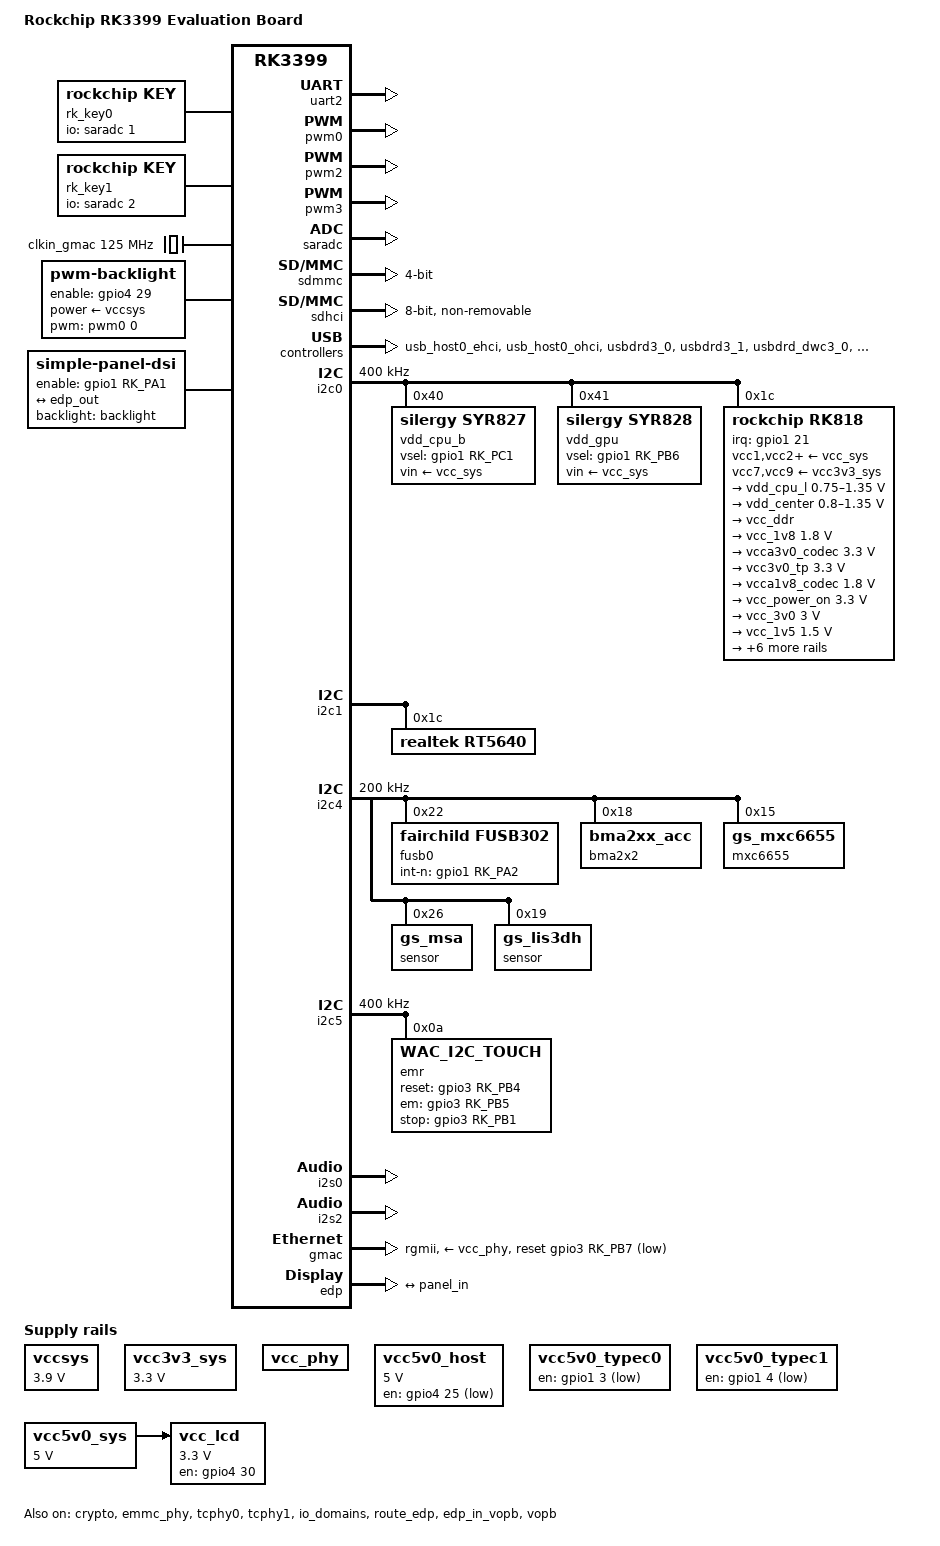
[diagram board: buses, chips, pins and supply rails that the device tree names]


/*
 * (C) Copyright 2016 Rockchip Electronics Co., Ltd
 *
 * SPDX-License-Identifier:     GPL-2.0+
 */

/dts-v1/;
#include <dt-bindings/pwm/pwm.h>
#include <dt-bindings/pinctrl/rockchip.h>
#include "rk3399.dtsi"
#include "rk3399-sdram-lpddr3-4GB-1600.dtsi"
#include "rk3399-u-boot.dtsi"
#include <linux/media-bus-format.h>
#include <dt-bindings/input/input.h>

/ {
	model = "Rockchip RK3399 Evaluation Board";
	compatible = "rockchip,rk3399-evb", "rockchip,rk3399",
		     "google,rk3399evb-rev2";

	/* RK3399 evb board */
	rk_key0 {
		u-boot,dm-pre-reloc;
		compatible = "rockchip,key";
		status = "okay";
		io-channels = <&saradc 1>;

		vol-up-key0 {
			u-boot,dm-pre-reloc;
			linux,code = <KEY_VOLUMEUP>;
			label = "volume up";
			rockchip,adc_value = <1>;
		};
	};

	/* RK3399PRO evb board */
	rk_key1 {
		u-boot,dm-pre-reloc;
		compatible = "rockchip,key";
		status = "okay";
		io-channels = <&saradc 2>;

		vol-up-key1 {
			u-boot,dm-pre-reloc;
			linux,code = <KEY_VOLUMEUP>;
			label = "volume up";
			rockchip,adc_value = <10>;
		};
	};


	vccsys: vccsys {
		compatible = "regulator-fixed";
		regulator-name = "vccsys";
		regulator-always-on;
		regulator-boot-on;
		regulator-min-microvolt = <3900000>;
		regulator-max-microvolt = <3900000>;
	};

	vcc3v3_sys: vcc3v3-sys {
		compatible = "regulator-fixed";
		regulator-name = "vcc3v3_sys";
		regulator-always-on;
		regulator-boot-on;
		regulator-min-microvolt = <3300000>;
		regulator-max-microvolt = <3300000>;
	};

	vcc_phy: vcc-phy-regulator {
		compatible = "regulator-fixed";
		regulator-name = "vcc_phy";
		regulator-always-on;
		regulator-boot-on;
	};

	vcc5v0_host: vcc5v0-host-en {
		compatible = "regulator-fixed";
		regulator-name = "vcc5v0_host";
		gpio = <&gpio4 25 GPIO_ACTIVE_HIGH>;
		regulator-min-microvolt = <5000000>;
		regulator-max-microvolt = <5000000>;
		regulator-always-on;
		regulator-boot-on;
	};

	vcc5v0_typec0: vcc5v0-typec0-en {
		compatible = "regulator-fixed";
		regulator-name = "vcc5v0_typec0";
		gpio = <&gpio1 3 GPIO_ACTIVE_HIGH>;
	};

	vcc5v0_typec1: vcc5v0-typec1-en {
		compatible = "regulator-fixed";
		regulator-name = "vcc5v0_typec1";
		gpio = <&gpio1 4 GPIO_ACTIVE_HIGH>;
	};

	clkin_gmac: external-gmac-clock {
		compatible = "fixed-clock";
		clock-frequency = <125000000>;
		clock-output-names = "clkin_gmac";
		#clock-cells = <0>;
	};

	backlight: backlight {
		compatible = "pwm-backlight";
		power-supply = <&vccsys>;
		enable-gpios = <&gpio1 RK_PC7 GPIO_ACTIVE_HIGH>;
		brightness-levels = <
			  0  20  20  21  21  22  22  23
			 23  24  24  25  25  26  26  27
			 27  28  28  29  29  30  30  31
			 31  32  32  33  33  34  34  35
			 35  36  36  37  37  38  38  39
			 40  41  42  43  44  45  46  47
			 48  49  50  51  52  53  54  55
			 56  57  58  59  60  61  62  63
			 64  65  66  67  68  69  70  71
			 72  73  74  75  76  77  78  79
			 80  81  82  83  84  85  86  87
			 88  89  90  91  92  93  94  95
			 96  97  98  99 100 101 102 103
			104 105 106 107 108 109 110 111
			112 113 114 115 116 117 118 119
			120 121 122 123 124 125 126 127
			128 129 130 131 132 133 134 135
			136 137 138 139 140 141 142 143
			144 145 146 147 148 149 150 151
			152 153 154 155 156 157 158 159
			160 161 162 163 164 165 166 167
			168 169 170 171 172 173 174 175
			176 177 178 179 180 181 182 183
			184 185 186 187 188 189 190 191
			192 193 194 195 196 197 198 199
			200 201 202 203 204 205 206 207
			208 209 210 211 212 213 214 215
			216 217 218 219 220 221 222 223
			224 225 226 227 228 229 230 231
			232 233 234 235 236 237 238 239
			240 241 242 243 244 245 246 247
			248 249 250 251 252 253 254 255
		>;
		default-brightness-level = <200>;
		pwms = <&pwm0 0 25000 0>;
		pinctrl-names = "default";
		pinctrl-0 = <&bl_en>;
	};

	vcc5v0_sys: vcc5v0-sys {
		compatible = "regulator-fixed";
		regulator-name = "vcc5v0_sys";
		regulator-always-on;
		regulator-boot-on;
		regulator-min-microvolt = <5000000>;
		regulator-max-microvolt = <5000000>;
	};

	vcc_lcd: vcc-lcd {
		compatible = "regulator-fixed";
		regulator-name = "vcc_lcd";
		gpio = <&gpio4 30 GPIO_ACTIVE_HIGH>;
		startup-delay-us = <20000>;
		enable-active-high;
		regulator-min-microvolt = <3300000>;
		regulator-max-microvolt = <3300000>;
		regulator-boot-on;
		vin-supply = <&vcc5v0_sys>;
	};

	panel: panel {
		compatible = "simple-panel-dsi";
		backlight = <&backlight>;
		enable-gpios = <&gpio1 RK_PA1 GPIO_ACTIVE_HIGH>;
		prepare-delay-ms = <50>;
		enable-delay-ms = <50>;

		display-timings {
			native-mode = <&timing0>;

			timing0: timing0 {
				clock-frequency = <155000000>;
				hactive = <1200>;
				vactive = <1920>;
				hfront-porch = <60>;
				hsync-len = <24>;
				hback-porch = <80>;
				vfront-porch = <14>;
				vsync-len = <2>;
				vback-porch = <10>;
				hsync-active = <0>;
				vsync-active = <0>;
				de-active = <0>;
				pixelclk-active = <0>;
			};
		};

		ports {
			panel_in: endpoint {
				remote-endpoint = <&edp_out>;
			};
		};
	};

};

&crypto {
	status = "okay";
};

&uart2 {
	status = "okay";
};

&emmc_phy {
	status = "okay";
};

&pwm0 {
	status = "okay";
};

&pwm2 {
	status = "okay";
};

&pwm3 {
	status = "okay";
};

&saradc {
	status = "okay";
};

&sdmmc {
	bus-width = <4>;
	status = "okay";
};

&sdhci {
	bus-width = <8>;
	mmc-hs400-1_8v;
	mmc-hs400-enhanced-strobe;
	non-removable;
	status = "okay";
};

&tcphy0 {
	status = "okay";
};

&tcphy1 {
	status = "okay";
};

&usb_host0_ehci {
	status = "okay";
};

&usb_host0_ohci {
	status = "okay";
};

&usbdrd3_0 {
	status = "okay";
};

&usbdrd3_1 {
	status = "okay";
};

&usbdrd_dwc3_0 {
	status = "okay";
};

&usbdrd_dwc3_1 {
	status = "okay";
};

&usb_host1_ehci {
	status = "okay";
};

&usb_host1_ohci {
	status = "okay";
};

&i2c0 {
	status = "okay";
	i2c-scl-rising-time-ns = <180>;
	i2c-scl-falling-time-ns = <30>;
	clock-frequency = <400000>;

	vdd_cpu_b: syr837@40 {
		compatible = "silergy,syr827";
		reg = <0x40>;
		vin-supply = <&vcc_sys>;
		regulator-compatible = "fan53555-reg";
		pinctrl-0 = <&vsel1_gpio>;
		vsel-gpios = <&gpio1 RK_PC1 GPIO_ACTIVE_HIGH>;
		regulator-name = "vdd_cpu_b";
		regulator-min-microvolt = <712500>;
		regulator-max-microvolt = <1500000>;
		regulator-ramp-delay = <1000>;
		fcs,suspend-voltage-selector = <1>;
		regulator-always-on;
		regulator-boot-on;
		regulator-initial-state = <3>;
		regulator-state-mem {
			regulator-off-in-suspend;
		};
	};

	vdd_gpu: syr828@41 {
		compatible = "silergy,syr828";
		status = "okay";
		reg = <0x41>;
		vin-supply = <&vcc_sys>;
		regulator-compatible = "fan53555-reg";
		pinctrl-0 = <&vsel2_gpio>;
		vsel-gpios = <&gpio1 RK_PB6 GPIO_ACTIVE_HIGH>;
		regulator-name = "vdd_gpu";
		regulator-min-microvolt = <712500>;
		regulator-max-microvolt = <1500000>;
		regulator-ramp-delay = <1000>;
		fcs,suspend-voltage-selector = <1>;
		regulator-always-on;
		regulator-boot-on;
		regulator-initial-state = <3>;
			regulator-state-mem {
			regulator-off-in-suspend;
		};
	};

	
rk818: pmic@1c {
		compatible = "rockchip,rk818";
		status = "okay";
		reg = <0x1c>;
		clock-output-names = "rk818-clkout1", "wifibt_32kin";
		interrupt-parent = <&gpio1>;
		interrupts = <21 IRQ_TYPE_LEVEL_LOW>;
		pinctrl-names = "default";
		pinctrl-0 = <&pmic_int_l>;
		rockchip,system-power-controller;
		rk818,support_dc_chg = <0>;/*1: dc chg; 0:usb chg*/
		wakeup-source;
		extcon = <&fusb0>;
		#clock-cells = <1>;

		vcc1-supply = <&vcc_sys>;
		vcc2-supply = <&vcc_sys>;
		vcc3-supply = <&vcc_sys>;
		vcc4-supply = <&vcc_sys>;
		vcc6-supply = <&vcc_sys>;
		vcc7-supply = <&vcc3v3_sys>;
		vcc8-supply = <&vcc_sys>;
		vcc9-supply = <&vcc3v3_sys>;

		regulators {
			vdd_cpu_l: DCDC_REG1 {
				regulator-name = "vdd_cpu_l";
				regulator-always-on;
				regulator-boot-on;
				regulator-min-microvolt = <750000>;
				regulator-max-microvolt = <1350000>;
				regulator-ramp-delay = <6001>;
				regulator-state-mem {
					regulator-off-in-suspend;
				};
			};

			vdd_center: DCDC_REG2 {
				regulator-name = "vdd_center";
				regulator-always-on;
				regulator-boot-on;
				regulator-min-microvolt = <800000>;
				regulator-max-microvolt = <1350000>;
				regulator-ramp-delay = <6001>;
				regulator-state-mem {
					regulator-off-in-suspend;
				};
			};

			vcc_ddr: DCDC_REG3 {
				regulator-name = "vcc_ddr";
				regulator-always-on;
				regulator-boot-on;
				regulator-state-mem {
					regulator-on-in-suspend;
				};
			};

			vcc_1v8: DCDC_REG4 {
				regulator-name = "vcc_1v8";
				regulator-always-on;
				regulator-boot-on;
				regulator-min-microvolt = <1800000>;
				regulator-max-microvolt = <1800000>;
				regulator-state-mem {
					regulator-on-in-suspend;
					regulator-suspend-microvolt = <1800000>;
				};
			};

			vcca3v0_codec: LDO_REG1 {
				regulator-always-on;
				regulator-boot-on;
				regulator-min-microvolt = <3300000>;
				regulator-max-microvolt = <3300000>;
				regulator-name = "vcca3v0_codec";
				regulator-state-mem {
					regulator-on-in-suspend;
					regulator-suspend-microvolt = <3300000>;
				};
			};

			vcc3v0_tp: LDO_REG2 {
				regulator-always-on;
				regulator-boot-on;
				regulator-min-microvolt = <3300000>;
				regulator-max-microvolt = <3300000>;
				regulator-name = "vcc3v0_tp";
				regulator-state-mem {
					regulator-off-in-suspend;
				};
			};

			vcca1v8_codec: LDO_REG3 {
				regulator-always-on;
				regulator-boot-on;
				regulator-min-microvolt = <1800000>;
				regulator-max-microvolt = <1800000>;
				regulator-name = "vcca1v8_codec";
				regulator-state-mem {
					regulator-on-in-suspend;
					regulator-suspend-microvolt = <1800000>;
				};
			};

			vcc_power_on: LDO_REG4 {
				regulator-always-on;
				regulator-boot-on;
				regulator-min-microvolt = <3300000>;
				regulator-max-microvolt = <3300000>;
				regulator-name = "vcc_power_on";
				regulator-state-mem {
					regulator-on-in-suspend;
					regulator-suspend-microvolt = <3300000>;
				};
			};

			vcc_3v0: LDO_REG5 {
				regulator-always-on;
				regulator-boot-on;
				regulator-min-microvolt = <3000000>;
				regulator-max-microvolt = <3000000>;
				regulator-name = "vcc_3v0";
				regulator-state-mem {
					regulator-on-in-suspend;
					regulator-suspend-microvolt = <3000000>;
				};
			};

			vcc_1v5: LDO_REG6 {
				regulator-always-on;
				regulator-boot-on;
				regulator-min-microvolt = <1500000>;
				regulator-max-microvolt = <1500000>;
				regulator-name = "vcc_1v5";
				regulator-state-mem {
					regulator-on-in-suspend;
					regulator-suspend-microvolt = <1500000>;
				};
			};

			vcc1v8_dvp: LDO_REG7 {
			//	regulator-always-on;
				regulator-boot-on;
				regulator-min-microvolt = <1800000>;
				regulator-max-microvolt = <1800000>;
				regulator-name = "vcc1v8_dvp";
				regulator-state-mem {
					regulator-off-in-suspend;
				};
			};

			vcc3v3_s3: LDO_REG8 {
				regulator-always-on;
				regulator-boot-on;
				regulator-min-microvolt = <3300000>;
				regulator-max-microvolt = <3300000>;
				regulator-name = "vcc3v3_s3";
				regulator-state-mem {
					regulator-off-in-suspend;
				};
			};

			vccio_sd: LDO_REG9 {
				regulator-always-on;
				regulator-boot-on;
				regulator-min-microvolt = <1800000>;
				regulator-max-microvolt = <3000000>;
				regulator-name = "vccio_sd";
				regulator-state-mem {
					regulator-on-in-suspend;
					regulator-suspend-microvolt = <3000000>;
				};
			};

			vcc3v3_s0: SWITCH_REG {
				regulator-always-on;
				regulator-boot-on;
				regulator-name = "vcc3v3_s0";
				regulator-state-mem {
					regulator-on-in-suspend;
				};
			};

			boost_otg: DCDC_BOOST {
				regulator-name = "boost_otg";
				regulator-always-on;
				regulator-boot-on;
				regulator-min-microvolt = <5000000>;
				regulator-max-microvolt = <5000000>;
				regulator-state-mem {
					regulator-on-in-suspend;
					regulator-suspend-microvolt = <5000000>;
				};
			};

			otg_switch: OTG_SWITCH {
				regulator-name = "otg_switch";
			};
		};

		battery {
			compatible = "rk818-battery";
			ocv_table = <3400 3666 3680 3708 3732 3749 3763 3775 3788 3806 3827 3859 3909 3946 3972 4036 4077 4129 4181 4238 4308>;
			ntc_table =
		       <
			42506  
			40599  
			38790  
			37072  
			35441  
			33892  
			32419  
			31020  
			29689  
			28423  
			27218  
			26076  
			24987  
			23950  
			22962  
			22021  
			21123  
			20266  
			19449  
			18669  
			17925  
			17213  
			16534  
			15885  
			15265  
			14673  
			14107  
			13566  
			13048  
			12554  
			12080  
			11628  
			11194  
			10779  
			10381  
			10000  
			 9634  
			 9283  
			 8947  
			 8624  
			 8314  
			 8018  
			 7733  
			 7460  
			 7199  
			 6947  
			 6706  
			 6475  
			 6252  
			 6039  
			 5833  
			 5635  
			 5445  
			 5262  
			 5086  
			 4916  
			 4753  
			 4597  
			 4446  
			 4300  
			 4160  
			 4026  
			 3896  
			 3771  
			 3651  
			 3535  
			 3423  
			 3315  
			 3211  
			 3111  
			 3014  
			 2922  
			 2833  
			 2748  
			 2665  
			 2586  
			 2509  
			 2435  
			 2363  
			 2294  
			 2227  
			 2162  
			 2100  
			 2039  
			 1981  
			 1924  
			 1869  
			 1817  
			 1765  
			 1716  
			 1668  
			 1622  
			 1577  
			 1534  
			 1492   
			>;
			ntc_degree_from = <1 10>;
			temperature_chrg_table = <0 9 80 1>, <0 41 850 2>,<0 44 80 40>;
			design_capacity = <6200>;
			design_qmax = <6800>;
			bat_res = <93>;
			max_input_current = <1750>;
			max_chrg_current = <1600>;
			max_chrg_voltage = <4350>;
			sleep_enter_current = <300>;
			sleep_exit_current = <300>;
			power_off_thresd = <3400>;
			zero_algorithm_vol = <3950>;
			fb_temperature = <115>;
			sample_res = <10>;
			max_soc_offset = <60>;
			energy_mode = <0>;
			monitor_sec = <5>;
			virtual_power = <0>;
			power_dc2otg = <1>;
			support_usb_adp = <1>;
			charger_led_gpio = <&gpio4 RK_PC6 GPIO_ACTIVE_HIGH>;
			VCC5V0_TYPEC0_gpios = <&gpio0 RK_PA6 GPIO_ACTIVE_HIGH>;
			wacom_stop_gpio = <&gpio3 RK_PB1 GPIO_ACTIVE_HIGH>;
			wacom_RST_gpio = <&gpio3 RK_PB4 GPIO_ACTIVE_HIGH>;
			ID1_det_gpio = <&gpio3 RK_PA6 GPIO_ACTIVE_LOW>;
			ID2_det_gpio = <&gpio3 RK_PA7 GPIO_ACTIVE_LOW>;
			RK818_reset_gpios = <&gpio1 RK_PA6 GPIO_ACTIVE_HIGH>;
		};
	};
};



&i2c1 {
	status = "okay";
	i2c-scl-rising-time-ns = <140>;
	i2c-scl-falling-time-ns = <30>;



	rt5640: rt5640@1c  {
		status = "okay";
		#sound-dai-cells = <0>;
		compatible = "realtek,rt5640";
		reg = <0x1c>;
		clocks = <&cru SCLK_I2S_8CH_OUT>;
		clock-names = "mclk";
		realtek,in1-differential;
		pinctrl-names = "default";
		pinctrl-0 = <&i2s_8ch_mclk>;
	};

};

&i2c4 {
	status = "okay";
	i2c-scl-rising-time-ns = <345>;
	i2c-scl-falling-time-ns = <11>;
	clock-frequency = <200000>;

	bq25700: bq25700@6b {
		compatible = "ti,bq25703";
		reg = <0x6b>;
		extcon = <&fusb0>;
		interrupt-parent = <&gpio1>;
		interrupts = <RK_PC7 IRQ_TYPE_LEVEL_LOW>;
		pinctrl-names = "default";
	//	pinctrl-0 = <&charger_ok>;
		ti,charge-current = <1500000>;
		ti,max-charge-voltage = <8704000>;
		ti,max-input-voltage = <20000000>;
		ti,max-input-current = <6000000>;
		ti,input-current-sdp = <500000>;
		ti,input-current-dcp = <2000000>;
		ti,input-current-cdp = <2000000>;
		ti,input-current-dc = <2000000>;
		ti,minimum-sys-voltage = <6700000>;
		ti,otg-voltage = <5000000>;
		ti,otg-current = <500000>;
		ti,input-current = <500000>;
		pd-charge-only = <0>;
		//typec0-enable-gpios = <&gpio1 RK_PA3 GPIO_ACTIVE_LOW>;
		status = "disabled";
	};

	cw2015: cw2015@62 {
		status = "disabled";
		compatible = "cw201x";
		reg = <0x62>;
		bat_config_info = <0x15 0xA8 0x5D 0x5D 0x59 0x55 0x57 0x50
				   0x4B 0x4F 0x55 0x53 0x43 0x37 0x2F 0x28
				   0x21 0x18 0x15 0x17 0x27 0x43 0x57 0x4F
				   0x13 0x5E 0x0A 0xE1 0x19 0x31 0x3C 0x46
				   0x4C 0x52 0x50 0x54 0x44 0x1E 0x7E 0x4C
				   0x1C 0x4A 0x52 0x87 0x8F 0x91 0x94 0x52
				   0x82 0x8C 0x92 0x96 0x00 0xAD 0xFB 0xCB
				   0x2F 0x7D 0x72 0xA5 0xB5 0xC1 0x1C 0x09>;
		monitor_sec = <2>;
		virtual_power = <0>;
		divider_res1 = <200>;
		divider_res2 = <200>;
	};

	fusb0: fusb30x@22 {
		compatible = "fairchild,fusb302";
		reg = <0x22>;
		pinctrl-names = "default";
		pinctrl-0 = <&fusb0_int>;
		int-n-gpios = <&gpio1 RK_PA2 GPIO_ACTIVE_HIGH>;
	//	vbus-5v-gpios = <&gpio0 RK_PA6 GPIO_ACTIVE_HIGH>;
		status = "okay";
	};
	bma2x2: bma255@18 {
		compatible = "bma2xx_acc";
		status = "okay";
		reg = <0x18>;
		type = <SENSOR_TYPE_ACCEL>;
		irq_enable = <0>;
		poll_delay_ms = <20>;
		layout = <8>;
		reprobe_en = <1>;/* this sensor need to be probe again */
	};
	mxc6655: mxc6655@15 {
		compatible = "gs_mxc6655";
		status = "okay";
		reg = <0x15>;
		type = <SENSOR_TYPE_ACCEL>;
		irq_enable = <0>;
		poll_delay_ms = <20>;
		layout = <8>;
		reprobe_en = <1>;/* this sensor need to be probe again */
	};
	sensor@26{
		compatible = "gs_msa"; 
		reg = <0x26>; 
		type = <SENSOR_TYPE_ACCEL>; 
		//irq-gpio = <&gpio2 GPIO_B2 IRQ_TYPE_EDGE_FALLING>; 
		irq_enable = <0>; 
		poll_delay_ms = <20>; 
		//layout = <6>; 
		layout = <8>; 
	};

	sensor@19 {
		status = "okay";
		compatible = "gs_lis3dh";
		reg = <0x19>;
		type = <SENSOR_TYPE_ACCEL>;
		irq_enable = <0>;
		poll_delay_ms = <20>;
		reprobe_en = <0>;
		layout = <6>;    
	};

	gt9xx: gt9xx@5D {
		compatible = "goodix,GT9XX-TS";
		reg = <0x5D>;
	//	irq_gpio_number = <&gpio4 RK_PD4 IRQ_TYPE_LEVEL_LOW>;
		rst_gpio_number = <&gpio4 RK_PC5 GPIO_ACTIVE_HIGH>;
		screen_max_x = <4096>;
		screen_max_y = <4096>;
		tp-size = <89>;
		//1280x800
		x_reverse = <1>;
		y_reverse = <0>;
		xy_reverse = <0>;
		configfile-num = <1>;
		status = "disabled";
	};
};

&i2c5 {
	status = "okay";
/*	i2c-scl-rising-time-ns = <345>;
	i2c-scl-falling-time-ns = <11>;
	clock-frequency = <200000>;

	i2c-scl-rising-time-ns = <150>;
	i2c-scl-falling-time-ns = <30>;
	clock-frequency = <100000>;*/

	clock-frequency = <400000>;
	emr@A {
		compatible = "WAC_I2C_TOUCH";
		reg = <0xA>;
		screen_max_x = <4096>;
		screen_max_y = <4096>;
		reset-gpio = <&gpio3 RK_PB4 GPIO_ACTIVE_HIGH>;
		em-gpio = <&gpio3 RK_PB5 IRQ_TYPE_LEVEL_LOW>;
		stop-gpio = <&gpio3 RK_PB1 GPIO_ACTIVE_HIGH>;
		pinctrl-names = "default";
		pinctrl-0 = <&wacom_irq>;
	};
};

&i2s0 {
	status = "okay";
	rockchip,i2s-broken-burst-len;
	rockchip,playback-channels = <8>;
	rockchip,capture-channels = <8>;
	#sound-dai-cells = <0>;
};

&i2s2 {
	#sound-dai-cells = <0>;
	status = "okay";
};


&io_domains {
	status = "okay";
	bt656-supply = <&vcc1v8_dvp>;
	audio-supply = <&vcca1v8_codec>;
	sdmmc-supply = <&vccio_sd>;
	gpio1830-supply = <&vcc_3v0>;
};

&pmu_io_domains {
	status = "okay";
	pmu1830-supply = <&vcc_1v8>;
};


&isp0_mmu {
	status = "okay";
};

&isp1_mmu {
	status = "okay";
};

&pinctrl {
    pinctrl-names = "default";
 /*   pinctrl-0 = <&host_hub_vcc>;

    host-hub-vcc {
        host_hub_vcc: host-hub-vcc {
        rockchip,pins = <1 RK_PC7 RK_FUNC_GPIO &pcfg_output_high>,
                        <2 RK_PA4 RK_FUNC_GPIO &pcfg_output_high>,
                        <1 RK_PA2 RK_FUNC_GPIO &pcfg_output_high>,
                        <4 RK_PD5 RK_FUNC_GPIO &pcfg_output_high>;
        };
    };*/

	Wacom_TP {
		wacom_irq: wacom_irq {
			rockchip,pins = <3 RK_PB5 RK_FUNC_GPIO &pcfg_pull_up>;
		};

	};
	hallsensor {
		mh248_irq_gpio: mh248-irq-gpio {
			rockchip,pins = <1 RK_PA0 RK_FUNC_GPIO &pcfg_pull_up>;
		};
	};

	sdmmc_pwr: sdmmc-pwr {
		rockchip,pins = <0 RK_PA1 RK_FUNC_GPIO &pcfg_pull_none>;
	};
/*
	    leds {                                                                                                            
		 led_power: led-power {                                                                    
		     rockchip,pins = <4 RK_PC6 RK_FUNC_GPIO &pcfg_pull_none>;
		 };

		 led_user: led-user {
		     rockchip,pins = <0 RK_PB5 RK_FUNC_GPIO &pcfg_pull_none>;
		 };
	    };
*/
	headphone {
		hp_det: hp-det {
			rockchip,pins = <4 RK_PD4 RK_FUNC_GPIO &pcfg_pull_up>;
		};
	};

	   bl {                                                                                                            
		 bl_en: bl-en {                                                                    
		     rockchip,pins = <1 RK_PC7 RK_FUNC_GPIO &pcfg_pull_none>;
		 };
	 };
	pcie {
		pcie_drv: pcie-drv {
			rockchip,pins =	<1 17 RK_FUNC_GPIO &pcfg_pull_none>;
		};
		pcie_3g_drv: pcie-3g-drv {
			rockchip,pins = <0 2 RK_FUNC_GPIO &pcfg_pull_up>;
		};
	};


	fusb30x {
		fusb0_int: fusb0-int {
			rockchip,pins =
				<1 RK_PA2 RK_FUNC_GPIO &pcfg_pull_up>;
			};
	};



	lcd_gpio {
		lcd_rst_gpio: lcd-rst-gpio {
			rockchip,pins = <3 RK_PA0 RK_FUNC_GPIO &pcfg_pull_none>;
		};
		lcd_pwr_gpio: lcd-pwr-gpio {
			rockchip,pins = <3 RK_PA1 RK_FUNC_GPIO &pcfg_pull_none>;
		};
	};

	pmic {
		pmic_int_l: pmic-int-l {
			rockchip,pins =
				<1 RK_PC5 RK_FUNC_GPIO &pcfg_pull_up>;
		};

		pmic_dvs2: pmic-dvs2 {
			rockchip,pins =
				<1 RK_PC2 RK_FUNC_GPIO &pcfg_pull_down>;
		};

		pmic_stby: pmic-stby {
			rockchip,pins =
				<1 RK_PD0 RK_FUNC_GPIO &pcfg_pull_up>;
		};

		pmic_hold: pmic-hold{
			rockchip,pins =
				<1 RK_PB5 RK_FUNC_GPIO &pcfg_pull_up>;
		};

		vsel1_gpio: vsel1-gpio {
			rockchip,pins =
				<1 RK_PC1 RK_FUNC_GPIO &pcfg_pull_down>;
		};
		vsel2_gpio: vsel2-gpio {
			rockchip,pins =
				<1 RK_PB6 RK_FUNC_GPIO &pcfg_pull_down>;
		};
	};

	sdio-pwrseq {
		wifi_enable_h: wifi-enable-h {
			rockchip,pins = <0 RK_PB2 RK_FUNC_GPIO &pcfg_pull_none>;
		};
	};

	tp_irq {
		tp_irq_gpio: tp-irq-gpio {
			rockchip,pins = <3 RK_PB0 RK_FUNC_GPIO &pcfg_pull_up>;
		};
	};

	wireless-bluetooth {
		uart0_gpios: uart0-gpios {
			rockchip,pins = <2 RK_PC3 RK_FUNC_GPIO &pcfg_pull_none>;
		};
	};
	wireless-wifi {
		host_wake_gpio: host_wake-gpio {
			rockchip,pins = <2 RK_PD3  RK_FUNC_GPIO &pcfg_pull_up>;
		};
		
		host_wake_gpio2: host_wake-gpio2 {
			rockchip,pins = <4 RK_PD0 RK_FUNC_GPIO &pcfg_pull_none>;
		};
	};

};


&mipi_dsi {
	status = "disabled";
	rockchip,panel = <&panel>;
	display-timings {
		timing0 {
		bits-per-pixel = <24>;
		clock-frequency = <160000000>;
		hfront-porch = <120>;
		hsync-len = <20>;
		hback-porch = <21>;
		hactive = <1200>;
		vfront-porch = <21>;
		vsync-len = <3>;
		vback-porch = <18>;
		vactive = <1920>;
		hsync-active = <0>;
		vsync-active = <0>;
		de-active = <1>;
		pixelclk-active = <0>;
		};
	};
};

&pinctrl {
	bl {                                                                                                            
		bl_en: bl-en {                                                                    
			rockchip,pins = <1 RK_PC7 RK_FUNC_GPIO &pcfg_pull_none>;
		};
	};
	pmic {
		pmic_int_l: pmic-int-l {
			rockchip,pins =
				<1 21 RK_FUNC_GPIO &pcfg_pull_up>;
		};

		pmic_dvs2: pmic-dvs2 {
			rockchip,pins =
				<1 18 RK_FUNC_GPIO &pcfg_pull_down>;
		};
	};
};

&gmac {
        phy-supply = <&vcc_phy>;
	phy-mode = "rgmii";
	clock_in_out = "input";
	snps,reset-gpio = <&gpio3 RK_PB7 GPIO_ACTIVE_LOW>;
	snps,reset-active-low;
	snps,reset-delays-us = <0 10000 50000>;
	assigned-clocks = <&cru SCLK_RMII_SRC>;
	assigned-clock-parents = <&clkin_gmac>;
	pinctrl-names = "default";
	pinctrl-0 = <&rgmii_pins>;
	tx_delay = <0x28>;
	rx_delay = <0x11>;
	status = "okay";
};

&backlight {
	status = "okay";
	enable-gpios = <&gpio4 29 GPIO_ACTIVE_HIGH>;
};

&route_edp {
	status = "okay";
};

&edp_in_vopl {
	status = "disabled";
};

&edp_in_vopb {
	status = "okay";
};

&edp {
	status = "okay";
	force-hpd;

	ports {
		port@1 {
			reg = <1>;

			edp_out: endpoint {
				remote-endpoint = <&panel_in>;
			};
		};
	};
};

&vopb {
	status = "okay";
};
